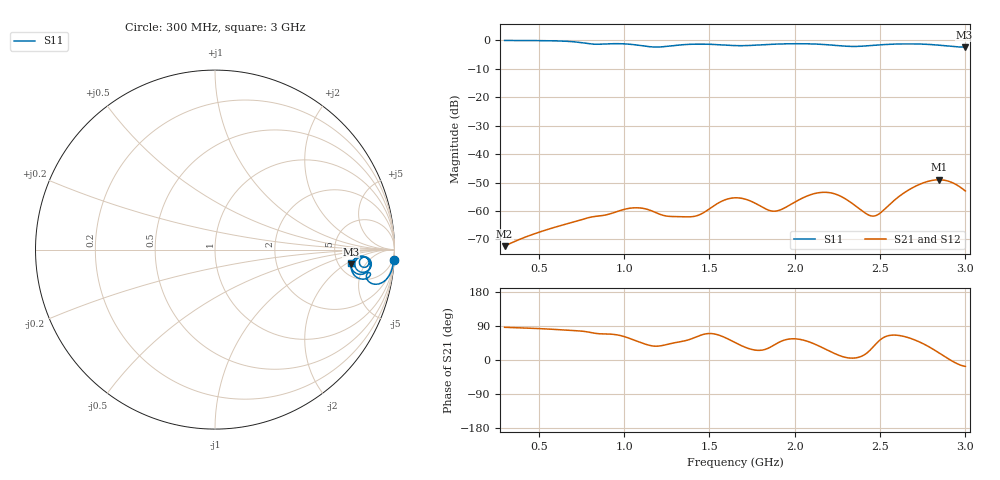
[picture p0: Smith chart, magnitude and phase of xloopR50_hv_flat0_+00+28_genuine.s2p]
! xloopR50_hv_flat0_+00+28_genuine, gap C 0.80 pF
! simulated by sim/fixtures_fdtd.py (S12 = S21, S22 not computed)
# HZ S RI R 50
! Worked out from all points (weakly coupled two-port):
!   541 points, 300 MHz to 3 GHz, reference 50 ohm
!   highest |S21| = -49.03 dB at 2.845 GHz (marker M1); lowest = -72.4 dB at 300 MHz (marker M2)
!   lowest |S11| = -2.4 dB at 2.995 GHz (marker M3), VSWR 7.39, Z = 322 - j122 ohm
!   |S11| at or under -10 dB: nowhere
!   |S22| runs from - to - dB; largest |S21 - S12| = 0
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3e8  0.9964 -0.0595  1.55e-05 0.00024  1.55e-05 0.00024  0 0
6e8  0.9703 -0.1446  8.59e-05 0.000516  8.59e-05 0.000516  0 0
7.5e8  0.8919 -0.1928  0.000166 0.000679  0.000166 0.000679  0 0
8.85e8  0.8553 -0.1283  0.000305 0.000784  0.000305 0.000784  0 0
1.05e9  0.8306 -0.1642  0.000665 0.000916  0.000665 0.000916  0 0
1.2e9  0.7611 -0.0806  0.000721 0.000536  0.000721 0.000536  0 0
1.29e9  0.8101 -0.0363  0.000564 0.000563  0.000564 0.000563  0 0
1.415e9  0.8569 -0.064  0.000411 0.000695  0.000411 0.000695  0 0
1.575e9  0.8265 -0.0984  0.000692 0.00133  0.000692 0.00133  0 0
1.65e9  0.8061 -0.0809  0.00118 0.00123  0.00118 0.00123  0 0
1.72e9  0.8093 -0.0551  0.00134 0.000832  0.00134 0.000832  0 0
1.88e9  0.8567 -0.0493  0.000762 0.000633  0.000762 0.000633  0 0
2.1e9  0.8602 -0.1095  0.00138 0.00139  0.00138 0.00139  0 0
2.245e9  0.8051 -0.1224  0.00189 0.000499  0.00189 0.000499  0 0
2.45e9  0.8131 -0.04  0.000707 0.000407  0.000707 0.000407  0 0
2.49e9  0.8308 -0.0404  0.000572 0.000657  0.000572 0.000657  0 0
2.55e9  0.8514 -0.052  0.000542 0.00113  0.000542 0.00113  0 0
2.7e9  0.8619 -0.1027  0.00158 0.00213  0.00158 0.00213  0 0
2.845e9  0.8126 -0.138  0.00335 0.00114  0.00335 0.00114  0 0
2.92e9  0.7731 -0.1227  0.00318 -0.000124  0.00318 -0.000124  0 0
2.995e9  0.7575 -0.0794  0.00221 -0.000659  0.00221 -0.000659  0 0
3e9  0.758 -0.0763  0.00214 -0.000658  0.00214 -0.000658  0 0
